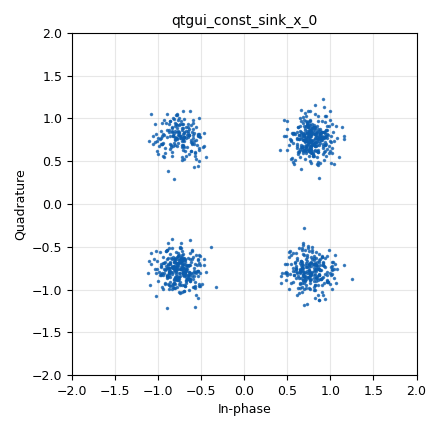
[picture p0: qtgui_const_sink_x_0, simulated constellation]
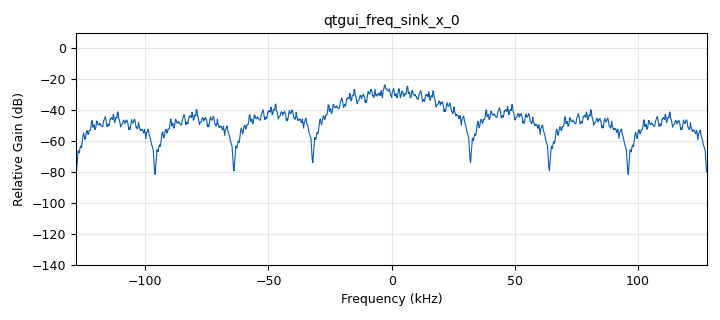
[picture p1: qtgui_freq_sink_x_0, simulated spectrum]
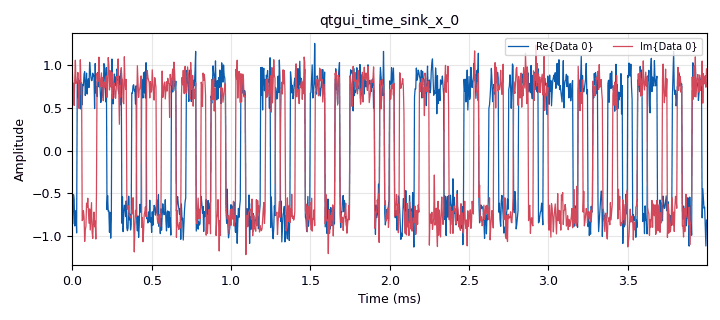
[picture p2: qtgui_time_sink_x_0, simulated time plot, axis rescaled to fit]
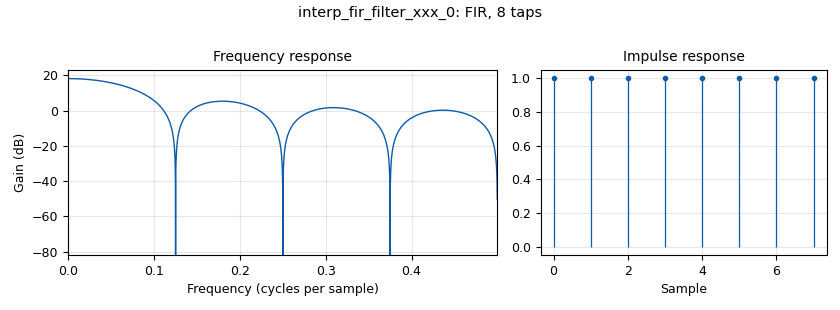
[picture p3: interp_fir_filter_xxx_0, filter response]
options:
  parameters:
    generate_options: qt_gui
    id: QPSK
    output_language: python
    title: Not titled yet
  states: {}

blocks:
- name: M
  id: variable
  parameters:
    value: len(Tabla_de_verdad_Constelacion)
  states: {}
- name: Nbps
  id: variable
  parameters:
    value: int(math.log(M,2))
  states: {}
- name: Rb
  id: variable
  parameters:
    value: Rs*Nbps
  states: {}
- name: Rs
  id: variable
  parameters:
    value: '32000'
  states: {}
- name: Tabla_de_verdad_Constelacion
  id: variable
  parameters:
    value: (0.77+0.77j, -0.77+0.77j, 0.77-0.77j, -0.77-0.77j)
  states: {}
- name: h
  id: variable
  parameters:
    value: '[1]*sps'
  states: {}
- name: samp_rate
  id: variable
  parameters:
    value: Rs*sps
  states: {}
- name: sps
  id: variable
  parameters:
    value: '8'
  states: {}
- name: analog_noise_source_x_0
  id: analog_noise_source_x
  parameters:
    amp: '0.2'
    noise_type: analog.GR_GAUSSIAN
    seed: '0'
    type: complex
  states: {}
- name: analog_random_source_x_0
  id: analog_random_source_x
  parameters:
    max: '2'
    min: '0'
    num_samps: '1000'
    repeat: 'True'
    type: byte
  states: {}
- name: blocks_add_xx_0
  id: blocks_add_xx
  parameters:
    type: complex
  states: {}
- name: blocks_pack_k_bits_bb_0
  id: blocks_pack_k_bits_bb
  parameters:
    k: '8'
  states: {}
- name: blocks_packed_to_unpacked_xx_0
  id: blocks_packed_to_unpacked_xx
  parameters:
    bits_per_chunk: Nbps
    endianness: gr.GR_MSB_FIRST
    type: byte
  states: {}
- name: blocks_vector_source_x_0
  id: blocks_vector_source_x
  parameters:
    repeat: 'True'
    type: int
    vector: (0, 1, 2, 3)
  states: {state: disabled}
- name: digital_chunks_to_symbols_xx_0
  id: digital_chunks_to_symbols_xx
  parameters:
    dimension: '1'
    in_type: byte
    out_type: complex
    symbol_table: Tabla_de_verdad_Constelacion
  states: {}
- name: import_0
  id: import
  parameters:
    imports: import math
  states: {}
- name: interp_fir_filter_xxx_0
  id: interp_fir_filter_xxx
  parameters:
    interp: sps
    taps: h
    type: ccc
  states: {}
- name: qtgui_const_sink_x_0
  id: qtgui_const_sink_x
  parameters:
    size: '1024'
    type: complex
  states: {}
- name: qtgui_freq_sink_x_0
  id: qtgui_freq_sink_x
  parameters:
    average: '0.05'
    bw: samp_rate
    fc: '0'
    fftsize: '1024'
    type: complex
  states: {}
- name: qtgui_time_sink_x_0
  id: qtgui_time_sink_x
  parameters:
    size: '1024'
    srate: samp_rate
    type: complex
  states: {}
- name: virtual_sink_0
  id: virtual_sink
  parameters:
    stream_id: A1
  states: {}
- name: virtual_sink_0_0
  id: virtual_sink
  parameters:
    stream_id: A0
  states: {}
- name: virtual_source_0
  id: virtual_source
  parameters:
    stream_id: A1
  states: {}
- name: virtual_source_0_0
  id: virtual_source
  parameters:
    stream_id: A0
  states: {}

connections:
- [analog_noise_source_x_0, '0', blocks_add_xx_0, '0']
- [analog_random_source_x_0, '0', blocks_pack_k_bits_bb_0, '0']
- [blocks_add_xx_0, '0', virtual_sink_0, '0']
- [blocks_pack_k_bits_bb_0, '0', blocks_packed_to_unpacked_xx_0, '0']
- [blocks_packed_to_unpacked_xx_0, '0', digital_chunks_to_symbols_xx_0, '0']
- [blocks_vector_source_x_0, '0', digital_chunks_to_symbols_xx_0, '0']
- [digital_chunks_to_symbols_xx_0, '0', interp_fir_filter_xxx_0, '0']
- [interp_fir_filter_xxx_0, '0', blocks_add_xx_0, '1']
- [interp_fir_filter_xxx_0, '0', virtual_sink_0_0, '0']
- [virtual_source_0, '0', qtgui_const_sink_x_0, '0']
- [virtual_source_0, '0', qtgui_time_sink_x_0, '0']
- [virtual_source_0_0, '0', qtgui_freq_sink_x_0, '0']

metadata:
  file_format: 1
  grc_version: 3.10.10.0
